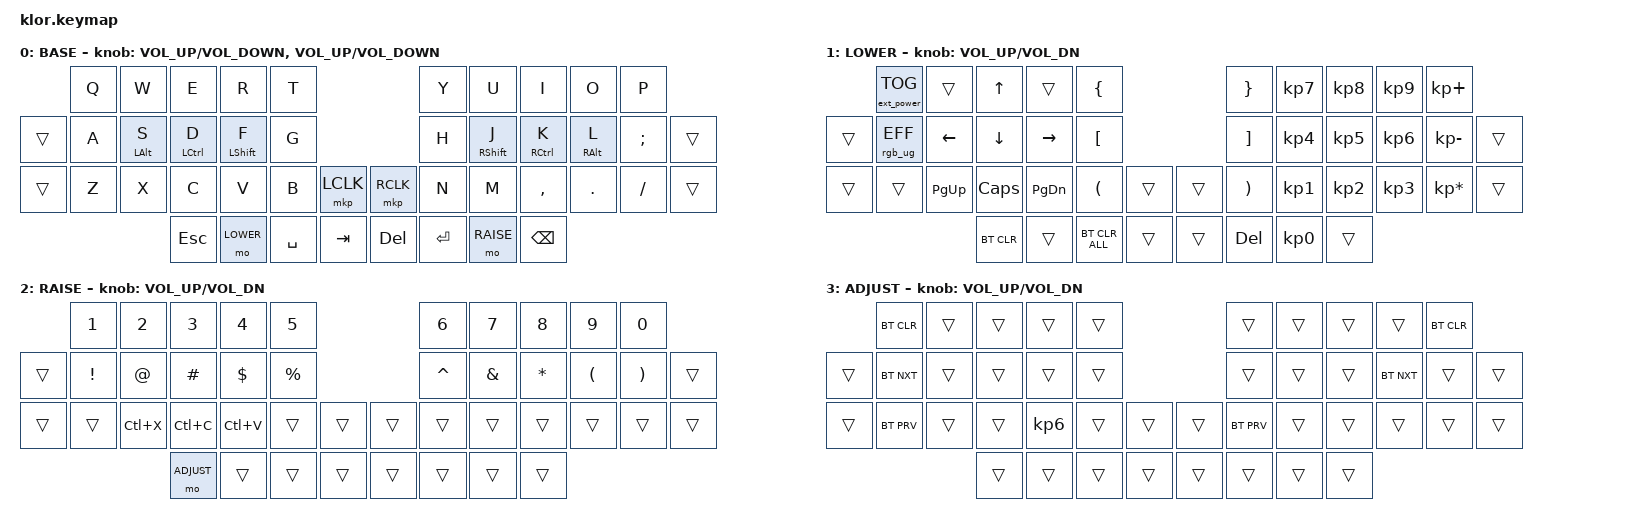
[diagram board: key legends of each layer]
//                               █         █    █            ▄▄▄▀▀▀▀▀▀▄▄▄        █▀▀▀▀▀▀▀▀▀▀█
//                               █        █     █          ▄▀            ▀▄      █          █
//                               █       █      █        ▄▀                ▀▄    █          █
//                               █      █       █        █                  █    █          █
//                               █     █        █       █                    █   █          █
//                               █    █         █       █                    █   █▄▄▄▄▄▄▄▄▄▄█
//                               █   █ █        █       █                    █   █      █
//                               █  █   █       █        █                  █    █       █
//                               █ █     █      █        ▀▄                ▄▀    █        █
//                               ██       █     █          ▀▄            ▄▀      █         █
//                               █         █    █▄▄▄▄▄▄▄▄    ▀▀▀▄▄▄▄▄▄▀▀▀        █          █
//
// ▄▄▄▄▄▄▄▄▄▄▄▄▄▄▄▄▄▄▄▄▄▄▄▄▄▄▄▄▄▄▄▄▄▄▄▄▄▄▄▄▄▄▄▄▄▄▄▄▄▄▄▄▄▄▄▄▄▄▄▄▄▄▄▄▄▄▄▄▄▄▄▄▄▄▄▄▄▄▄▄▄▄▄▄▄▄▄▄▄▄▄▄▄▄▄▄▄▄▄▄▄▄▄▄▄▄▄▄▄▄▄▄▄▄▄▄▄▄▄▄▄▄▄▄▄

#include <behaviors.dtsi>
#include <dt-bindings/zmk/bt.h>
#include <dt-bindings/zmk/ext_power.h>
#include <dt-bindings/zmk/keys.h>
#include <dt-bindings/zmk/pointing.h>
#include <dt-bindings/zmk/pointing.h>
#include <dt-bindings/zmk/rgb.h>

#define BASE   0
#define LOWER  1
#define RAISE  2
#define ADJUST 3

/ {
    behaviors {
        hm: homerow_mods {
            compatible = "zmk,behavior-hold-tap";
            label = "HOMEROW_MODS";
            #binding-cells = <2>;
            tapping-term-ms = <150>;
            quick_tap_ms = <0>;
            flavor = "tap-preferred";
            bindings = <&kp>, <&kp>;
        };

        enc_bh: enc_bh {
            compatible = "zmk,behavior-sensor-rotate";
            label = "ENC_BH";
            #sensor-binding-cells = <0>;
            bindings = <&msc SCRL_UP>, <&msc SCRL_DOWN>;
        };
    };

    combos {
        compatible = "zmk,combos";

        cm_right_brace {
            bindings = <&kp RIGHT_BRACE>;
            key-positions = <5 6>;
        };

        cm_left_brace {
            bindings = <&kp LEFT_BRACE>;
            key-positions = <3 4>;
        };

        cm_right_bracket {
            bindings = <&kp RIGHT_BRACKET>;
            key-positions = <16 17>;
        };

        cm_left_bracket {
            bindings = <&kp LEFT_BRACKET>;
            key-positions = <14 15>;
        };

        cm_right_parenthesis {
            bindings = <&kp RIGHT_PARENTHESIS>;
            key-positions = <31 30>;
        };

        cm_left_parenthesis {
            bindings = <&kp LEFT_PARENTHESIS>;
            key-positions = <26 27>;
        };

        cm_quote {
            bindings = <&kp SINGLE_QUOTE>;
            key-positions = <17 18>;
        };

        cm_backslash {
            bindings = <&kp BACKSLASH>;
            key-positions = <18 19>;
        };

        cm_equal {
            bindings = <&kp EQUAL>;
            key-positions = <19 20>;
        };

        cm_grave {
            bindings = <&kp GRAVE>;
            key-positions = <14 13>;
        };

        cm_minus {
            bindings = <&kp MINUS>;
            key-positions = <13 12>;
        };
    };

    keymap {
        compatible = "zmk,keymap";

        // ▄▄▄▄▄▄▄▄▄▄▄▄▄▄▄▄▄▄▄▄▄▄▄▄▄▄▄▄▄▄▄▄▄▄▄▄▄▄▄▄▄▄▄▄▄▄▄▄▄▄▄▄▄▄▄▄▄▄▄▄▄▄▄▄▄▄▄▄▄▄▄▄▄▄▄▄▄▄▄▄▄▄▄▄▄▄▄▄▄▄▄▄▄▄▄▄▄▄▄▄▄▄▄▄▄▄▄▄▄▄▄▄▄▄▄▄▄▄▄▄▄▄▄▄▄▄▄▄▄▄▄▄▄▄▄▄▄▄▄▄▄▄

        base_layer {
            // ┌───────────────────────────────────────────────────────────┐

            label = "BASE";

            // └───────────────────────────────────────────────────────────┘
            /*           ┌─────────┬─────────┬─────────┬─────────┬─────────┐                    ┌─────────┬─────────┬─────────┬─────────┬─────────┐
             │    Q    │    W    │    F    │    P    │    G    │                    │    J    │    L    │    U    │    Y    │    ;    │   
   ┌─────────┼─────────┼─────────┼─────────┼─────────┼─────────┤                    ├─────────┼─────────┼─────────┼─────────┼─────────┼─────────┐
   │   TAB   │    A    │    R    │    S    │    T    │    D    │                    │    H    │    N    │    E    │    I    │    O    │    "    │
   ├─────────┼─────────┼─────────┼─────────┼─────────┼─────────┤╭────────╮╭────────╮├─────────┼─────────┼─────────┼─────────┼─────────┼─────────┤
   │   DEL   │    Z    │    X    │    C    │    V    │    B    ││  MUTE  ││PLY/PSE ││    K    │    M    │    ,    │    .    │    /    │    \    │
   └─────────┴─────────┴─────────┼─────────┼─────────┼─────────┼╰────────╯╰────────╯┼─────────┼─────────┼─────────┼─────────┴─────────┴─────────┘
                                 │  CTRL   │  LOWER  │  SPACE  │   ALT   ││ CMD/WIN │  ENTER  │  RAISE  │  BSPCE  │  
                                 └─────────┴─────────┴─────────┴─────────┘└─────────┴─────────┴─────────┴─────────┘ */

            bindings = <
        &kp Q  &kp W       &kp E        &kp R        &kp T                             &kp Y    &kp U        &kp I          &kp O       &kp P
&trans  &kp A  &hm LALT S  &hm LCTRL D  &hm LSHFT F  &kp G                             &kp H    &hm RSHFT J  &hm RCTRL K    &hm RALT L  &kp SEMICOLON  &trans
&trans  &kp Z  &kp X       &kp C        &kp V        &kp B      &mkp LCLK  &mkp RCLK   &kp N    &kp M        &kp COMMA      &kp DOT     &kp FSLH       &trans
                           &kp ESC      &mo LOWER    &kp SPACE  &kp TAB    &kp DELETE  &kp RET  &mo RAISE    &kp BACKSPACE
            >;

            sensor-bindings =
                <&inc_dec_kp C_VOL_UP C_VOLUME_DOWN>,
                <&inc_dec_kp C_VOL_UP C_VOLUME_DOWN>;
        };

        // ▄▄▄▄▄▄▄▄▄▄▄▄▄▄▄▄▄▄▄▄▄▄▄▄▄▄▄▄▄▄▄▄▄▄▄▄▄▄▄▄▄▄▄▄▄▄▄▄▄▄▄▄▄▄▄▄▄▄▄▄▄▄▄▄▄▄▄▄▄▄▄▄▄▄▄▄▄▄▄▄▄▄▄▄▄▄▄▄▄▄▄▄▄▄▄▄▄▄▄▄▄▄▄▄▄▄▄▄▄▄▄▄▄▄▄▄▄▄▄▄▄▄▄▄▄▄▄▄▄▄▄▄▄▄▄▄▄▄▄▄▄▄

        lower_layer {
            // ┌───────────────────────────────────────────────────────────┐

            label = "LOWER";

            // └───────────────────────────────────────────────────────────┘
            /*           ┌─────────┬─────────┬─────────┬─────────┬─────────┐                    ┌─────────┬─────────┬─────────┬─────────┬─────────┐
             │         │         │    UP   │         │    {    │                    │    }    │    7    │    8    │    9    │    +    │
   ┌─────────┼─────────┼─────────┼─────────┼─────────┼─────────┤                    ├─────────┼─────────┼─────────┼─────────┼─────────┼─────────┐
   │         │         │   LEFT  │  DOWN   │  RIGHT  │    [    │                    │    ]    │    4    │    5    │    6    │    -    │         │
   ├─────────┼─────────┼─────────┼─────────┼─────────┼─────────┤╭────────╮╭────────╮├─────────┼─────────┼─────────┼─────────┼─────────┼─────────┤
   │         │         │   P UP  │ C LOCK  │ P DOWN  │    (    ││        ││        ││    )    │    1    │    2    │    3    │    *    │         │
   └─────────┴─────────┴─────────┼─────────┼─────────┼─────────┼╰────────╯╰────────╯┼─────────┼─────────┼─────────┼─────────┴─────────┴─────────┘
                                 │         │         │         │         ││         │         │    0    │         │  
                                 └─────────┴─────────┴─────────┴─────────┘└─────────┴─────────┴─────────┴─────────┘ */

            bindings = <
        &ext_power EP_TOG  &trans     &kp UP      &trans     &kp LBRC                        &kp RBRC    &kp KP_N7  &kp KP_N8  &kp KP_N9  &kp KP_PLUS
&trans  &rgb_ug RGB_EFF    &kp LEFT   &kp DOWN    &kp RIGHT  &kp LBKT                        &kp RBKT    &kp KP_N4  &kp KP_N5  &kp KP_N6  &kp KP_MINUS     &trans
&trans  &trans             &kp PG_UP  &kp CAPS    &kp PG_DN  &kp LPAR        &trans  &trans  &kp RPAR    &kp KP_N1  &kp KP_N2  &kp KP_N3  &kp KP_MULTIPLY  &trans
                                      &bt BT_CLR  &trans     &bt BT_CLR_ALL  &trans  &trans  &kp DELETE  &kp KP_N0  &trans
            >;

            sensor-bindings = <&inc_dec_kp C_VOL_UP C_VOL_DN>;
        };

        // ▄▄▄▄▄▄▄▄▄▄▄▄▄▄▄▄▄▄▄▄▄▄▄▄▄▄▄▄▄▄▄▄▄▄▄▄▄▄▄▄▄▄▄▄▄▄▄▄▄▄▄▄▄▄▄▄▄▄▄▄▄▄▄▄▄▄▄▄▄▄▄▄▄▄▄▄▄▄▄▄▄▄▄▄▄▄▄▄▄▄▄▄▄▄▄▄▄▄▄▄▄▄▄▄▄▄▄▄▄▄▄▄▄▄▄▄▄▄▄▄▄▄▄▄▄

        raise_layer {
            // ┌───────────────────────────────────────────────────────────┐

            label = "RAISE";

            // └───────────────────────────────────────────────────────────┘
            /*           ┌─────────┬─────────┬─────────┬─────────┬─────────┐                    ┌─────────┬─────────┬─────────┬─────────┬─────────┐
             │         │         │         │         │         │                    │         │         │    Ü    │         │         │
   ┌─────────┼─────────┼─────────┼─────────┼─────────┼─────────┤                    ├─────────┼─────────┼─────────┼─────────┼─────────┼─────────┐
   │    Ä    │         │    ß    │         │         │         │                    │         │         │         │         │    Ö    │         │
   ├─────────┼─────────┼─────────┼─────────┼─────────┼─────────┤╭────────╮╭────────╮├─────────┼─────────┼─────────┼─────────┼─────────┼─────────┤
   │         │         │         │         │         │         ││        ││        ││         │         │         │         │         │         │
   └─────────┴─────────┴─────────┼─────────┼─────────┼─────────┼╰────────╯╰────────╯┼─────────┼─────────┼─────────┼─────────┴─────────┴─────────┘
                                 │ ADJUST  │         │         │         ││         │         │         │         │  
                                 └─────────┴─────────┴─────────┴─────────┘└─────────┴─────────┴─────────┴─────────┘ */

            bindings = <
        &kp NUMBER_1     &kp N2       &kp N3      &kp N4      &kp N5                       &kp N6     &kp N7         &kp N8        &kp N9                &kp N0
&trans  &kp EXCLAMATION  &kp AT_SIGN  &kp POUND   &kp DOLLAR  &kp PERCENT                  &kp CARET  &kp AMPERSAND  &kp ASTERISK  &kp LEFT_PARENTHESIS  &kp RIGHT_PARENTHESIS  &trans
&trans  &trans           &kp LC(X)    &kp LC(C)   &kp LC(V)   &trans       &trans  &trans  &trans     &trans         &trans        &trans                &trans                 &trans
                                      &mo ADJUST  &trans      &trans       &trans  &trans  &trans     &trans         &trans
            >;

            sensor-bindings = <&inc_dec_kp C_VOL_UP C_VOL_DN>;
        };

        // ▄▄▄▄▄▄▄▄▄▄▄▄▄▄▄▄▄▄▄▄▄▄▄▄▄▄▄▄▄▄▄▄▄▄▄▄▄▄▄▄▄▄▄▄▄▄▄▄▄▄▄▄▄▄▄▄▄▄▄▄▄▄▄▄▄▄▄▄▄▄▄▄▄▄▄▄▄▄▄▄▄▄▄▄▄▄▄▄▄▄▄▄▄▄▄▄▄▄▄▄▄▄▄▄▄▄▄▄▄▄▄▄▄▄▄▄▄▄▄▄▄▄▄▄▄

        adjust_layer {
            // ┌───────────────────────────────────────────────────────────┐

            label = "ADJUST";

            // └───────────────────────────────────────────────────────────┘
            /*           ┌─────────┬─────────┬─────────┬─────────┬─────────┐                    ┌─────────┬─────────┬─────────┬─────────┬─────────┐
             │         │         │         │         │         │                    │         │         │         │         │         │
   ┌─────────┼─────────┼─────────┼─────────┼─────────┼─────────┤                    ├─────────┼─────────┼─────────┼─────────┼─────────┼─────────┐
   │         │         │         │         │         │         │                    │         │         │         │         │         │         │
   ├─────────┼─────────┼─────────┼─────────┼─────────┼─────────┤╭────────╮╭────────╮├─────────┼─────────┼─────────┼─────────┼─────────┼─────────┤
   │         │         │         │         │         │         ││        ││        ││         │         │         │         │         │         │
   └─────────┴─────────┴─────────┼─────────┼─────────┼─────────┼╰────────╯╰────────╯┼─────────┼─────────┼─────────┼─────────┴─────────┴─────────┘
                                 │         │         │         │         ││         │         │         │         │  
                                 └─────────┴─────────┴─────────┴─────────┘└─────────┴─────────┴─────────┴─────────┘ */

            bindings = <
        &bt BT_CLR  &trans  &trans  &trans     &trans                  &trans      &trans  &trans  &trans      &bt BT_CLR
&trans  &bt BT_NXT  &trans  &trans  &trans     &trans                  &trans      &trans  &trans  &bt BT_NXT  &trans      &trans
&trans  &bt BT_PRV  &trans  &trans  &kp KP_N6  &trans  &trans  &trans  &bt BT_PRV  &trans  &trans  &trans      &trans      &trans
                            &trans  &trans     &trans  &trans  &trans  &trans      &trans  &trans
            >;

            sensor-bindings = <&inc_dec_kp C_VOL_UP C_VOL_DN>;
        };
    };
};
